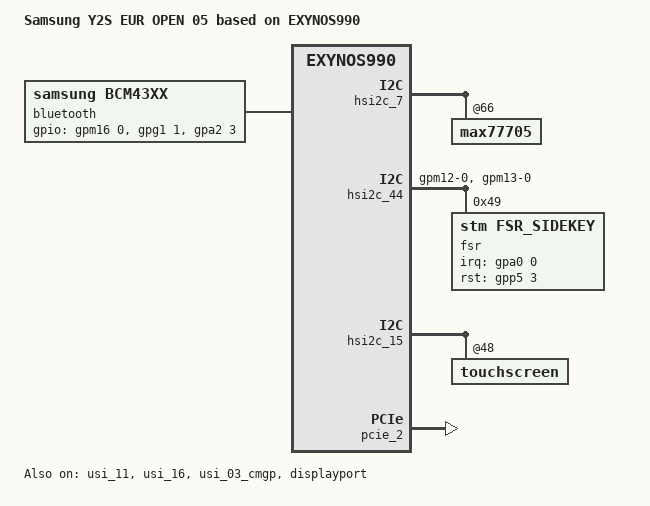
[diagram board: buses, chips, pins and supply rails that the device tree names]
/*
 * SAMSUNG EXYNOS990 board device tree source
 *
 * Copyright (c) 2019 Samsung Electronics Co., Ltd.
 *		http://www.samsung.com
 *
 * This program is free software; you can redistribute it and/or modify
 * it under the terms of the GNU General Public License version 2 as
 * published by the Free Software Foundation.
*/

/dts-v1/;
/plugin/;
#include "exynos9830-y2s_pm_00.dtsi"
#include "exynos990-y2s_common.dtsi"
#include "exynos9830-picasso_nfc_03.dtsi"
#include "../exynos/exynos9830-universal9830-cp-s5123-sipc.dtsi"
#include <dt-bindings/gpio/gpio.h>
#include "exynos9830-sensorhub_03.dtsi"
#include "battery_data_hubbley2_00.dtsi"

#define BOARD_ID	0x10
#define BOARD_REV	0x0

/ {
	compatible = "samsung,Y2S EUR OPEN 05", "samsung,EXYNOS990";
	dtbo-hw_rev = <5>;
	dtbo-hw_rev_end = <5>;
	edtbo-rev = <0>;

	fragment@model {
		target-path = "/";
		__overlay__ {
			#address-cells = <2>;
			#size-cells = <1>;

			model = "Samsung Y2S EUR OPEN 05 based on EXYNOS990";

			acpm_ipc {
				compatible = "samsung,exynos-acpm-ipc";
				board-id = <BOARD_ID>;
				board-rev = <BOARD_REV>;
			};

			pinctrl@15850000 {
				bt_hostwake: bt-hostwake {
					samsung,pins = "gpa2-3";
					samsung,pin-function = <0xF>;
					samsung,pin-pud = <1>;
				};
			};

			pinctrl@10730000 {
				bt_btwake: bt-btwake {
					samsung,pins = "gpg1-1";
					samsung,pin-function = <1>;
					samsung,pin-pud = <0>;
					samsung,pin-con-pdn = <3>;
					samsung,pin-pud-pdn = <0>;
				};
			};

			pinctrl@15C30000 {
				bt_en: bt-en {
					samsung,pins = "gpm16-0";
					samsung,pin-function = <1>;
					samsung,pin-pud = <0>;
					samsung,pin-con-pdn = <3>;
					samsung,pin-pud-pdn = <0>;
				};
			};

			bluetooth {
				compatible = "samsung,bcm43xx";
				gpios = <&gpm16 0 GPIO_ACTIVE_HIGH    /*BT_EN*/
				&gpg1 1 GPIO_ACTIVE_HIGH    /*BT_WAKE*/
				&gpa2 3 GPIO_ACTIVE_HIGH    /*BT_HOST_WAKE*/ >;
				pinctrl-names = "default";
				pinctrl-0=<&bt_en &bt_hostwake &bt_btwake>;
				status = "okay";
			};
		}; /* end of __overlay__ */
	}; /* end of fragment */
}; /* end of root */

&panel_0 {
	/* reset, power */
	gpios = <&gpa3 4 0x1>;
};

&chosen {
	bootargs_ext = "root=/dev/ram0 androidboot.boot_devices=13100000.ufs";
};

&usi_11 {
	usi_v2_mode = "i2c";
	status = "okay";
};

&usi_16 {
	usi_v2_mode = "spi";
	status = "okay";
};

&usi_03_cmgp {
	usi_v2_mode = "i2c";
	status = "okay";
};

&hsi2c_7 {
	max77705@66 {
		max77705,extra_fw_enable = <1>;
	};
};

&pinctrl_1 {
	hsi2c44_bus: hsi2c44-bus {
		samsung,pins = "gpm12-0", "gpm13-0";
		samsung,pin-function = <2>;
		samsung,pin-pud = <0>;
		samsung,pin-drv = <0>;
	};
};

&hsi2c_44 {
	status = "okay";
	pinctrl-names = "default";
	pinctrl-0 = <&hsi2c44_bus>;
	fsr@49 {
		status = "okay";
		compatible = "stm,fsr_sidekey";
		reg = <0x49>;
		stm,irq_gpio = <&gpa0 0 0>;
		stm,irq_type = <8200>;
		stm,rst_gpio = <&gpp5 3 GPIO_ACTIVE_HIGH>;
		stm,project_name = "PICASSO2", "G415";
		stm,system_info_addr = <0x0000>;
		stm,firmware_name = "key_stm/fsr1ad04_p2.fw";
//		stm,bringup = <3>;
	};
};

&hsi2c_15 {
	touchscreen@48 {
		sec,firmware_name = "tsp_sec/y771_y2_ub.bin";
	};
};

&pinctrl_5 {
	aux_oe: aux-oe {
		samsung,pins = "gpp6-2";
		samsung,pin-function = <1>;
		samsung,pin-pud = <0>;
		samsung,pin-con-pdn = <3>;
		samsung,pin-pud-pdn = <0>;
		};

	sbu_sel: sbu-sel {
		samsung,pins = "gpp6-1";
		samsung,pin-function = <1>;
		samsung,pin-pud = <0>;
		samsung,pin-con-pdn = <3>;
		samsung,pin-pud-pdn = <0>;
		};
};

&displayport {
	status = "okay";
	dp,aux_sw_oe = <&gpp6 2 0>;
	dp,sbu_sw_sel = <&gpp6 1 0>;
	dp,usb_con_sel = <&gpm26 0 0>;

	pinctrl-names = "default";
	pinctrl-0 = <&aux_oe &sbu_sel>;
};

&pcie_2 {
	status = "okay";
	chip-ver = <1>;
	use-sysmmu = "false";
	use-cache-coherency = "true";
	use-msi = "true";
	use-pcieon-sleep = "true";
	phy-power-off = "false";
	ep-device-type = <EP_SAMSUNG_MODEM>;
	ep-device-name = "MODEM";
};

&ufs {
	/* board type for UFS CAL */
	evt-ver = /bits/ 8 <1>;
};

&exynos_is {
	vender {
		ois_gyro_list = <0x01 0x00 0x00 0x00 0x01>;
	};
};
